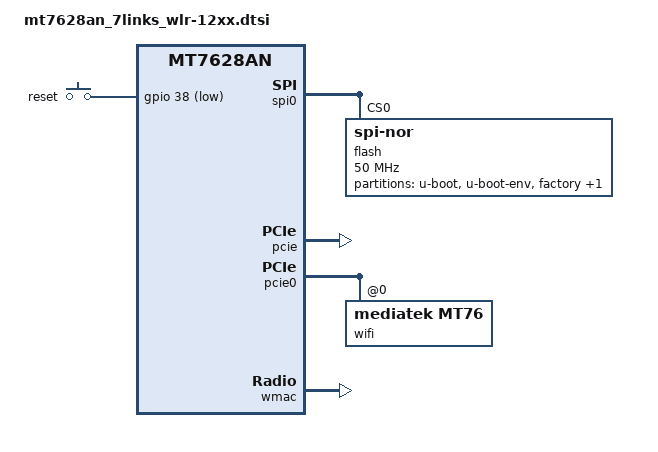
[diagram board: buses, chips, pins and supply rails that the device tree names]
// SPDX-License-Identifier: GPL-2.0-or-later OR MIT
/dts-v1/;

#include "mt7628an.dtsi"
#include <dt-bindings/gpio/gpio.h>
#include <dt-bindings/input/input.h>
#include <dt-bindings/leds/common.h>

/ {
	keys {
		compatible = "gpio-keys";

		reset {
			label = "reset";
			gpios = <&gpio 38 GPIO_ACTIVE_LOW>;
			linux,code = <KEY_RESTART>;
		};
	};

	chosen {
		bootargs = "console=ttyS0,115200";
	};
};

&spi0 {
	status = "okay";

	flash@0 {
		compatible = "jedec,spi-nor";
		reg = <0>;
		spi-max-frequency = <50000000>;

		partitions {
			compatible = "fixed-partitions";
			#address-cells = <1>;
			#size-cells = <1>;

			partition@0 {
				label = "u-boot";
				reg = <0x0 0x30000>;
				read-only;
			};

			partition@30000 {
				label = "u-boot-env";
				reg = <0x30000 0x10000>;
				read-only;
			};

			partition@40000 {
				label = "factory";
				reg = <0x40000 0x10000>;
				read-only;

				nvmem-layout {
					compatible = "fixed-layout";
					#address-cells = <1>;
					#size-cells = <1>;

					eeprom_factory_0: eeprom@0 {
						reg = <0x0 0x400>;
					};

					macaddr_factory_4: macaddr@4 {
						reg = <0x4 0x6>;
					};

					eeprom_factory_8000: eeprom@8000 {
						reg = <0x8000 0x4da8>;
					};
				};
			};

			partition@50000 {
				label = "firmware";
				reg = <0x50000 0x7b0000>;
				compatible = "denx,uimage";
			};
		};
	};
};

&state_default {
	gpio {
		groups = "gpio", "refclk", "wdt", "wled_an";
		function = "gpio";
	};
};

&pcie {
	status = "okay";
};

&pcie0 {
	wifi@0,0 {
		compatible = "mediatek,mt76";
		reg = <0x0000 0 0 0 0>;
		ieee80211-freq-limit = <5000000 6000000>;
		nvmem-cells = <&eeprom_factory_8000>;
		nvmem-cell-names = "eeprom";
	};
};

&ethernet {
	nvmem-cells = <&macaddr_factory_4>;
	nvmem-cell-names = "mac-address";
};

&esw {
	mediatek,portdisable = <0x2f>;
};

&wmac {
	status = "okay";
	nvmem-cells = <&eeprom_factory_0>;
	nvmem-cell-names = "eeprom";
};

&usbphy {
	status = "disabled";
};

&ehci {
	status = "disabled";
};

&ohci {
	status = "disabled";
};

